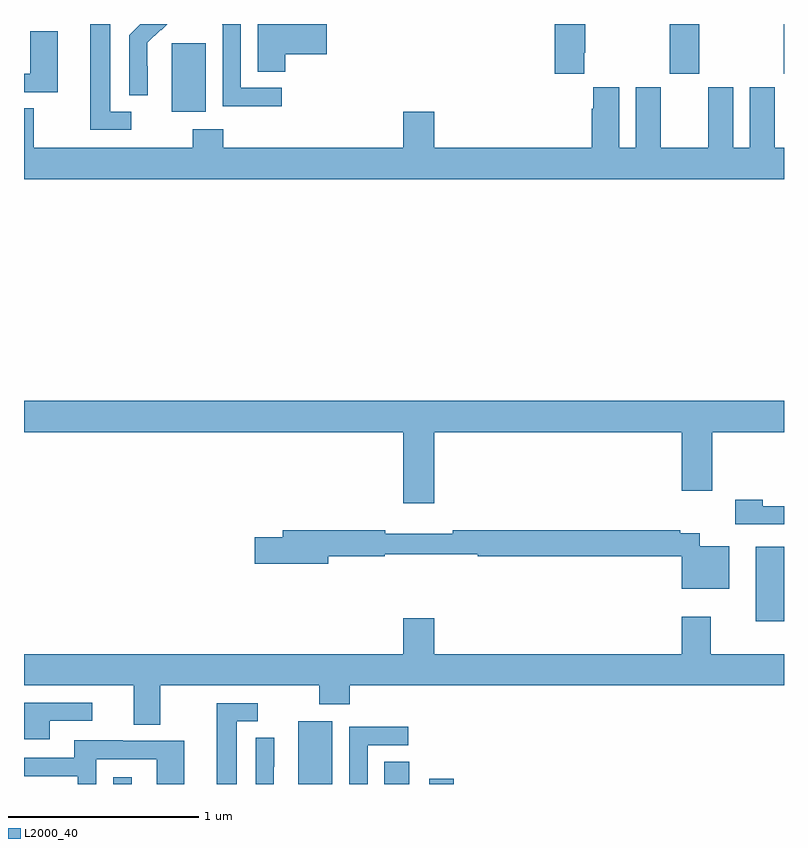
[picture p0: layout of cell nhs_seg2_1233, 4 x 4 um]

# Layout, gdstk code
import gdstk
lib = gdstk.Library(unit=1e-6, precision=1e-09)
def R(c, l, rs):  # rectangles x0, y0, x1, y1
    for r in rs: c.add(gdstk.rectangle(r[:2], r[2:], *l))
def P(c, l, *ps):  # polygons
    for p in ps: c.add(gdstk.Polygon(p, *l))
L2000_40 = (2000, 40)

nhs_seg2_1233 = lib.new_cell('nhs_seg2_1233')
R(nhs_seg2_1233, L2000_40, [(175.47,629.8,175.567,629.836), (176.444,629.8,176.623,630.13), (176.897,629.8,177.028,629.918), (177.132,629.8,177.263,629.828), (178.85,630.656,179,631.048), (175.778,633.338,175.957,633.699), (178.399,633.537,178.554,633.8), (178.999,633.537,179,633.8)])
P(nhs_seg2_1233, L2000_40, [(175.564,633.339),(175.453,633.339),(175.453,633.8),(175.349,633.8),(175.349,633.243),(175.564,633.243)],
  [(177.949,633.649),(177.954,633.649),(177.954,633.8),(177.794,633.8),(177.794,633.537),(177.949,633.537)],
  [(176.375,633.641),(176.593,633.641),(176.593,633.8),(176.231,633.8),(176.231,633.55),(176.375,633.55)],
  [(176.356,633.465),(176.142,633.465),(176.142,633.8),(176.044,633.8),(176.044,633.796),(176.046,633.796),(176.046,633.367),(176.356,633.367)],
  [(175.65,633.578),(175.649,633.578),(175.649,633.701),(175.719,633.771),(175.722,633.768),(175.754,633.8),(175.612,633.8),(175.554,633.742),(175.554,633.424),(175.65,633.424)],
  [(175.177,633.761),(175.032,633.761),(175.032,633.537),(175,633.537),(175,633.441),(175.177,633.441)],
  [(179,633.148),(178.951,633.148),(178.951,633.466),(178.82,633.466),(178.82,633.148),(178.732,633.148),(178.732,633.466),(178.601,633.466),(178.601,633.148),(178.351,633.148),(178.351,633.466),(178.22,633.466),(178.22,633.148),(178.132,633.148),(178.132,633.466),(177.995,633.466),(177.995,633.353),(177.989,633.353),(177.989,633.148),(177.16,633.148),(177.16,633.337),(176.996,633.337),(176.996,633.148),(176.048,633.148),(176.048,633.247),(175.888,633.247),(175.888,633.148),(175.051,633.148),(175.051,633.356),(175,633.356),(175,632.984),(179,632.984)],
  [(177.16,631.652),(178.463,631.652),(178.463,631.344),(178.623,631.344),(178.623,631.652),(179,631.652),(179,631.816),(175,631.816),(175,631.652),(176.996,631.652),(176.996,631.278),(177.16,631.278)],
  [(179,631.263),(178.887,631.263),(178.887,631.296),(178.743,631.296),(178.743,631.167),(179,631.167)],
  [(178.711,631.051),(178.557,631.051),(178.557,631.119),(178.454,631.119),(178.454,631.136),(177.256,631.136),(177.256,631.117),(176.9,631.117),(176.9,631.136),(176.363,631.136),(176.363,631.1),(176.214,631.1),(176.214,630.958),(176.602,630.958),(176.602,631),(176.898,631),(176.898,631.008),(177.387,631.008),(177.387,631),(178.461,631),(178.461,630.827),(178.711,630.827)],
  [(175.717,630.32),(176.554,630.32),(176.554,630.221),(176.714,630.221),(176.714,630.32),(179,630.32),(179,630.484),(178.615,630.484),(178.615,630.679),(178.463,630.679),(178.463,630.484),(177.16,630.484),(177.16,630.673),(176.996,630.673),(176.996,630.484),(175,630.484),(175,630.32),(175.577,630.32),(175.577,630.112),(175.717,630.112)],
  [(175.135,630.132),(175.36,630.132),(175.36,630.228),(175,630.228),(175,630.036),(175.135,630.036)],
  [(176.119,630.129),(176.23,630.129),(176.23,630.225),(176.015,630.225),(176.015,629.8),(176.119,629.8)],
  [(176.808,630.003),(177.022,630.003),(177.022,630.102),(176.712,630.102),(176.712,629.8),(176.808,629.8)],
  [(176.315,629.89),(176.316,629.89),(176.316,630.044),(176.22,630.044),(176.22,629.8),(176.315,629.8)],
  [(175.38,629.931),(175.698,629.931),(175.698,629.8),(175.843,629.8),(175.843,630.027),(175.519,630.027),(175.519,630.031),(175.265,630.031),(175.265,629.937),(175,629.937),(175,629.841),(175.284,629.841),(175.284,629.8),(175.38,629.8)])

lib.write_gds('nhs_seg2_1233.gds')
